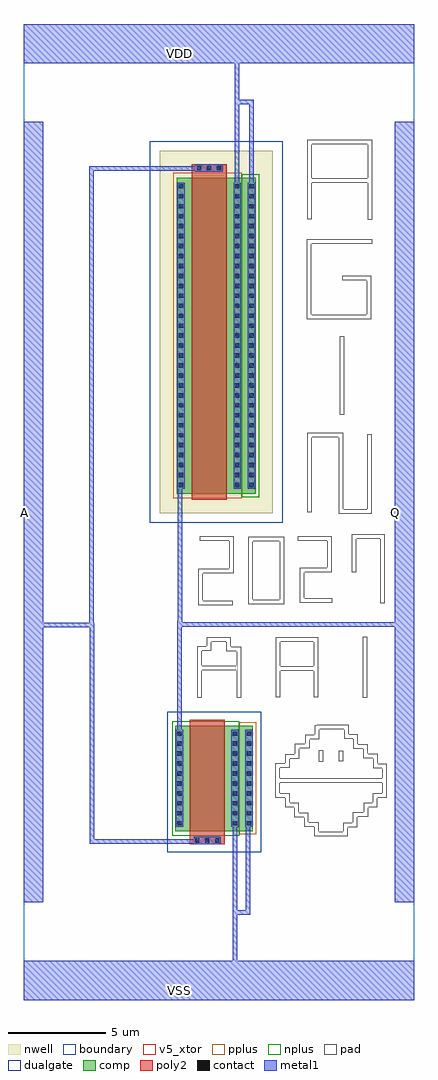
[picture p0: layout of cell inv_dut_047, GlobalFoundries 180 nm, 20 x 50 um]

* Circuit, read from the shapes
.subckt inv_dut_047 A Q VDD VSS
XM1 VSS A Q VSS nfet_05v0 w=5.4u l=1.8u
XM2 VDD A Q VDD pfet_05v0 w=16.2u l=1.8u
.ends

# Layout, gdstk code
import gdstk
lib = gdstk.Library(unit=1e-6, precision=1e-09)
def R(c, l, rs):  # rectangles x0, y0, x1, y1
    for r in rs: c.add(gdstk.rectangle(r[:2], r[2:], *l))
def A(c, l, x, y, w, h, nx, ny, dx, dy):  # array of equal rectangles
    R(c, l, [(x+i*dx, y+j*dy, x+i*dx+w, y+j*dy+h) for i in range(nx) for j in range(ny)])
boundary = (0, 0)
nwell = (21, 0)
comp = (22, 0)
poly2 = (30, 0)
pplus = (31, 0)
nplus = (32, 0)
contact = (33, 0)
metal1 = (34, 0)
pad = (37, 0)
dualgate = (55, 0)
v5_xtor = (112, 1)

nfet = lib.new_cell('nfet')
R(nfet, comp, [(-0.42,0,3.55,5.4)])
R(nfet, poly2, [(0.31,-0.66,2.11,5.7)])
R(nfet, pplus, [(2.84,-0.17,3.72,5.57)])
R(nfet, nplus, [(-0.59,-0.24,2.84,5.64)])
A(nfet, contact, 0.59, -0.59, 0.22, 0.22, 3, 1, 0.51, 0)
A(nfet, contact, -0.32, 0.295, 0.22, 0.22, 1, 10, 0, 0.51)
A(nfet, contact, 2.52, 0.295, 0.22, 0.22, 1, 10, 0, 0.51)
A(nfet, contact, 3.23, 0.295, 0.22, 0.22, 1, 10, 0, 0.51)
R(nfet, metal1, [(0.51,-0.67,1.91,-0.29), (-0.4,0.215,-0.02,5.185), (2.44,0.215,2.82,5.185), (3.15,0.215,3.53,5.185)])
R(nfet, dualgate, [(-0.84,-1.08,3.97,6.11)])
R(nfet, v5_xtor, [(-0.84,-1.08,3.97,6.11)])

pfet = lib.new_cell('pfet')
R(pfet, nwell, [(-1.32,-0.99,4.47,17.57)])
R(pfet, comp, [(-0.46,0,3.61,16.2)])
R(pfet, poly2, [(0.31,-0.3,2.11,16.88)])
R(pfet, pplus, [(-0.63,-0.24,2.88,16.44)])
R(pfet, nplus, [(2.88,-0.17,3.78,16.37)])
A(pfet, contact, -0.34, 0.34, 0.22, 0.22, 1, 31, 0, 0.51)
A(pfet, contact, 2.54, 0.34, 0.22, 0.22, 1, 31, 0, 0.51)
A(pfet, contact, 3.27, 0.34, 0.22, 0.22, 1, 31, 0, 0.51)
A(pfet, contact, 0.59, 16.58, 0.22, 0.22, 3, 1, 0.51, 0)
R(pfet, metal1, [(-0.42,0.26,-0.04,15.94), (2.46,0.26,2.84,15.94), (3.19,0.26,3.57,15.94), (0.51,16.5,1.91,16.88)])
R(pfet, dualgate, [(-1.82,-1.49,4.97,18.07)])
R(pfet, v5_xtor, [(-1.82,-1.49,4.97,18.07)])

inv_dut_047 = lib.new_cell('inv_dut_047')
R(inv_dut_047, boundary, [(-10,-25,10,25)])
R(inv_dut_047, metal1, [(-10,-25,10,-23), (-10,-20,-9,20), (9,-20,10,20), (-10,23,10,25)])
inv_dut_047.add(gdstk.FlexPath([(-2.025,-16.025),(-2.025,-5.675),(-1.985,-5.675),(-1.985,-5.675),(-1.985,-5.675)], 0.23, ends="flush", simple_path=True, layer=34, datatype=0))  # metal1
inv_dut_047.add(gdstk.FlexPath([(0.83,-11.35),(0.83,-23.405)], 0.23, ends="flush", simple_path=True, layer=34, datatype=0))  # metal1
inv_dut_047.add(gdstk.FlexPath([(1.665,1.335),(1.665,20.995),(0.795,20.995),(0.795,20.995)], 0.23, ends="flush", simple_path=True, layer=34, datatype=0))  # metal1
inv_dut_047.add(gdstk.FlexPath([(0.925,1.41),(0.925,23.275)], 0.23, ends="flush", simple_path=True, layer=34, datatype=0))  # metal1
inv_dut_047.add(gdstk.FlexPath([(-2.005,16.645),(-2.005,-5.76),(9.345,-5.76),(9.345,-5.8)], 0.23, ends="flush", simple_path=True, layer=34, datatype=0))  # metal1
inv_dut_047.add(gdstk.FlexPath([(-6.53,-5.76),(-6.53,17.6),(0,17.6)], 0.23, ends="flush", simple_path=True, layer=34, datatype=0))  # metal1
inv_dut_047.add(gdstk.FlexPath([(1.495,-11.395),(1.495,-20.505),(0.81,-20.505),(0.81,-20.505)], 0.23, ends="flush", simple_path=True, layer=34, datatype=0))  # metal1
inv_dut_047.add(gdstk.FlexPath([(-9.325,-5.78),(-6.51,-5.78),(-6.51,-16.875),(-0.085,-16.875),(-0.085,-16.875)], 0.23, ends="flush", simple_path=True, layer=34, datatype=0))  # metal1
inv_dut_047.add(gdstk.FlexPath([(4.98,-9.495),(4.98,-6.52),(3.02,-6.52),(3.02,-9.48)], 0.23, ends="flush", simple_path=True, layer=37, datatype=0))  # pad
inv_dut_047.add(gdstk.FlexPath([(3.125,-8.015),(4.83,-8.015)], 0.23, ends="flush", simple_path=True, layer=37, datatype=0))  # pad
inv_dut_047.add(gdstk.FlexPath([(-1,-9.51),(-1,-7),(-0.51,-7),(-0.51,-6.535),(0.495,-6.535),(0.495,-7.015),(1.015,-7.015),(1.015,-9.51)], 0.23, ends="flush", simple_path=True, layer=37, datatype=0))  # pad
inv_dut_047.add(gdstk.FlexPath([(-0.85,-8),(0.865,-8)], 0.23, ends="flush", simple_path=True, layer=37, datatype=0))  # pad
inv_dut_047.add(gdstk.FlexPath([(3.095,-13.745),(8.41,-13.745)], 0.23, ends="flush", simple_path=True, layer=37, datatype=0))  # pad
inv_dut_047.add(gdstk.FlexPath([(7.49,-9.51),(7.49,-6.4)], 0.23, ends="flush", simple_path=True, layer=37, datatype=0))  # pad
inv_dut_047.add(gdstk.FlexPath([(1.5,-1.375),(3.23,-1.375),(3.23,-4.62),(1.61,-4.62),(1.61,-1.515)], 0.23, ends="flush", simple_path=True, layer=37, datatype=0))  # pad
inv_dut_047.add(gdstk.FlexPath([(5.01,-11.02),(6.52,-11.02),(6.52,-11.5),(7,-11.5),(7,-12.005),(7.505,-12.005),(7.505,-12.5),(8.015,-12.5),(8.015,-13.01),(8.015,-13.01),(8.48,-13.01),(8.48,-14.52),(7.985,-14.52),(7.985,-15.015),(7.52,-15.015),(7.52,-15.505),(6.97,-15.505),(6.97,-16.03),(6.49,-16.03),(6.49,-16.495),(4.995,-16.495),(4.995,-16),(4.47,-16),(4.47,-15.52),(3.975,-15.52),(3.975,-15),(3.5,-15),(3.5,-14.52),(3.005,-14.52),(3.005,-12.98),(3.5,-12.98),(3.5,-12.515),(4.005,-12.515),(4.005,-11.99),(4.53,-11.99),(4.53,-11.99),(4.53,-11.515),(5.01,-11.515),(5.01,-10.915)], 0.23, ends="flush", simple_path=True, layer=37, datatype=0))  # pad
inv_dut_047.add(gdstk.FlexPath([(5.22,-12.215),(5.22,-12.785)], 0.23, ends="flush", simple_path=True, layer=37, datatype=0))  # pad
inv_dut_047.add(gdstk.FlexPath([(6.25,-12.77),(6.25,-12.23)], 0.23, ends="flush", simple_path=True, layer=37, datatype=0))  # pad
inv_dut_047.add(gdstk.FlexPath([(4.635,14.995),(4.635,18.945),(7.735,18.945),(7.735,14.975)], 0.23, ends="flush", simple_path=True, layer=37, datatype=0))  # pad
inv_dut_047.add(gdstk.FlexPath([(4.615,16.98),(7.755,16.98)], 0.23, ends="flush", simple_path=True, layer=37, datatype=0))  # pad
inv_dut_047.add(gdstk.FlexPath([(6.325,11.985),(7.69,11.985),(7.69,9.995),(4.615,9.995),(4.615,13.865),(7.84,13.865),(7.84,13.865)], 0.23, ends="flush", simple_path=True, layer=37, datatype=0))  # pad
inv_dut_047.add(gdstk.FlexPath([(6.3,9.005),(6.3,4.97)], 0.23, ends="flush", simple_path=True, layer=37, datatype=0))  # pad
inv_dut_047.add(gdstk.FlexPath([(7.7,3.985),(7.7,0.025),(6.25,0.025),(6.25,3.935),(4.625,3.935),(4.625,-0.025)], 0.23, ends="flush", simple_path=True, layer=37, datatype=0))  # pad
inv_dut_047.add(gdstk.FlexPath([(-0.985,-1.355),(0.64,-1.355),(0.64,-3.025),(-0.96,-3.025),(-0.96,-4.65),(0.715,-4.65)], 0.23, ends="flush", simple_path=True, layer=37, datatype=0))  # pad
inv_dut_047.add(gdstk.FlexPath([(4.035,-1.355),(5.66,-1.355),(5.66,-2.98),(4.255,-2.98),(4.255,-4.53),(5.81,-4.53)], 0.23, ends="flush", simple_path=True, layer=37, datatype=0))  # pad
inv_dut_047.add(gdstk.FlexPath([(6.915,-3.075),(6.915,-1.255),(8.365,-1.255),(8.365,-4.675)], 0.23, ends="flush", simple_path=True, layer=37, datatype=0))  # pad
inv_dut_047.add(gdstk.Reference(nfet, (-1.81,-16.35)))
inv_dut_047.add(gdstk.Reference(pfet, (-1.715,0.935)))
inv_dut_047.add(gdstk.Label('VDD', (-2,23.5), layer=34, texttype=10))
inv_dut_047.add(gdstk.Label('VSS', (-2,-24.5), layer=34, texttype=10))
inv_dut_047.add(gdstk.Label('A', (-9.97,0), layer=34, texttype=10))
inv_dut_047.add(gdstk.Label('Q', (9.03,0), layer=34, texttype=10))

lib.write_gds('inv_dut_047.gds')
